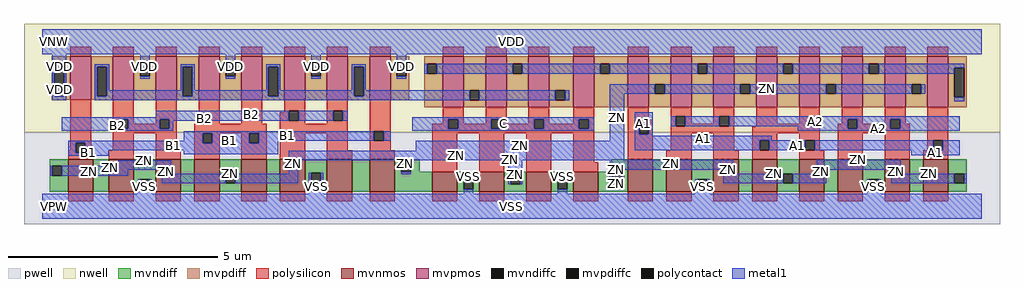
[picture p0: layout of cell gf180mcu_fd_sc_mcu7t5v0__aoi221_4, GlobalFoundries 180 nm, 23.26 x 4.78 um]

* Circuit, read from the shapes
.subckt gf180mcu_fd_sc_mcu7t5v0__aoi221_4 A1 A2 B1 B2 C ZN VDD VNW VPW VSS
XM1 n1 B1 ZN VPW nfet_06v0 w=0.77u l=0.6u
XM2 VSS B2 n1 VPW nfet_06v0 w=0.77u l=0.6u
XM3 n2 B2 VSS VPW nfet_06v0 w=0.77u l=0.6u
XM4 ZN B1 n2 VPW nfet_06v0 w=0.77u l=0.6u
XM5 n3 B1 ZN VPW nfet_06v0 w=0.77u l=0.6u
XM6 VSS B2 n3 VPW nfet_06v0 w=0.77u l=0.6u
XM7 n4 B2 VSS VPW nfet_06v0 w=0.77u l=0.6u
XM8 ZN B1 n4 VPW nfet_06v0 w=0.77u l=0.6u
XM9 VSS C ZN VPW nfet_06v0 w=0.48u l=0.6u m=4
XM10 n5 A1 ZN VPW nfet_06v0 w=0.77u l=0.6u
XM11 VSS A2 n5 VPW nfet_06v0 w=0.77u l=0.6u
XM12 n6 A2 VSS VPW nfet_06v0 w=0.77u l=0.6u
XM13 ZN A1 n6 VPW nfet_06v0 w=0.77u l=0.6u
XM14 n7 A1 ZN VPW nfet_06v0 w=0.77u l=0.6u
XM15 VSS A2 n7 VPW nfet_06v0 w=0.77u l=0.6u
XM16 n8 A2 VSS VPW nfet_06v0 w=0.77u l=0.6u
XM17 ZN A1 n8 VPW nfet_06v0 w=0.77u l=0.6u
XM18 n9 B1 VDD VNW pfet_06v0 w=1.035u l=0.5u m=4
XM19 VDD B2 n9 VNW pfet_06v0 w=1.035u l=0.5u m=4
XM20 n9 C n10 VNW pfet_06v0 w=1.215u l=0.5u m=4
XM21 ZN A1 n10 VNW pfet_06v0 w=1.215u l=0.5u m=4
XM22 n10 A2 ZN VNW pfet_06v0 w=1.215u l=0.5u m=4
.ends

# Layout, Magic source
magic
tech gf180mcuD
magscale 1 10
<< nwell >>
rect -86 352 4566 870
<< pwell >>
rect -86 -86 4566 352
<< mvnmos >>
rect 124 69 244 223
rect 318 69 438 223
rect 542 69 662 223
rect 726 69 846 223
rect 950 69 1070 223
rect 1134 69 1254 223
rect 1358 69 1478 223
rect 1562 69 1682 223
rect 1860 69 1980 165
rect 2084 69 2204 165
rect 2308 69 2428 165
rect 2532 69 2652 165
rect 2792 69 2912 223
rect 2976 69 3096 223
rect 3200 69 3320 223
rect 3384 69 3504 223
rect 3608 69 3728 223
rect 3792 69 3912 223
rect 4016 69 4136 223
rect 4200 69 4320 223
<< mvpmos >>
rect 134 508 234 715
rect 338 508 438 715
rect 542 508 642 715
rect 746 508 846 715
rect 950 508 1050 715
rect 1154 508 1254 715
rect 1358 508 1458 715
rect 1562 508 1662 715
rect 1910 472 2010 715
rect 2114 472 2214 715
rect 2318 472 2418 715
rect 2532 472 2632 715
rect 2792 472 2892 715
rect 2996 472 3096 715
rect 3200 472 3300 715
rect 3404 472 3504 715
rect 3608 472 3708 715
rect 3812 472 3912 715
rect 4016 472 4116 715
rect 4220 472 4320 715
<< mvndiff >>
rect 36 192 124 223
rect 36 146 49 192
rect 95 146 124 192
rect 36 69 124 146
rect 244 69 318 223
rect 438 128 542 223
rect 438 82 467 128
rect 513 82 542 128
rect 438 69 542 82
rect 662 69 726 223
rect 846 155 950 223
rect 846 109 875 155
rect 921 109 950 155
rect 846 69 950 109
rect 1070 69 1134 223
rect 1254 159 1358 223
rect 1254 113 1283 159
rect 1329 113 1358 159
rect 1254 69 1358 113
rect 1478 69 1562 223
rect 1682 210 1800 223
rect 1682 164 1711 210
rect 1757 165 1800 210
rect 2712 165 2792 223
rect 1757 164 1860 165
rect 1682 69 1860 164
rect 1980 128 2084 165
rect 1980 82 2009 128
rect 2055 82 2084 128
rect 1980 69 2084 82
rect 2204 152 2308 165
rect 2204 106 2233 152
rect 2279 106 2308 152
rect 2204 69 2308 106
rect 2428 128 2532 165
rect 2428 82 2457 128
rect 2503 82 2532 128
rect 2428 69 2532 82
rect 2652 152 2792 165
rect 2652 106 2717 152
rect 2763 106 2792 152
rect 2652 69 2792 106
rect 2912 69 2976 223
rect 3096 128 3200 223
rect 3096 82 3125 128
rect 3171 82 3200 128
rect 3096 69 3200 82
rect 3320 69 3384 223
rect 3504 155 3608 223
rect 3504 109 3533 155
rect 3579 109 3608 155
rect 3504 69 3608 109
rect 3728 69 3792 223
rect 3912 128 4016 223
rect 3912 82 3941 128
rect 3987 82 4016 128
rect 3912 69 4016 82
rect 4136 69 4200 223
rect 4320 155 4408 223
rect 4320 109 4349 155
rect 4395 109 4408 155
rect 4320 69 4408 109
<< mvpdiff >>
rect 46 665 134 715
rect 46 525 59 665
rect 105 525 134 665
rect 46 508 134 525
rect 234 665 338 715
rect 234 525 263 665
rect 309 525 338 665
rect 234 508 338 525
rect 438 665 542 715
rect 438 619 467 665
rect 513 619 542 665
rect 438 508 542 619
rect 642 665 746 715
rect 642 525 671 665
rect 717 525 746 665
rect 642 508 746 525
rect 846 665 950 715
rect 846 619 875 665
rect 921 619 950 665
rect 846 508 950 619
rect 1050 665 1154 715
rect 1050 525 1079 665
rect 1125 525 1154 665
rect 1050 508 1154 525
rect 1254 665 1358 715
rect 1254 619 1283 665
rect 1329 619 1358 665
rect 1254 508 1358 619
rect 1458 665 1562 715
rect 1458 525 1487 665
rect 1533 525 1562 665
rect 1458 508 1562 525
rect 1662 665 1750 715
rect 1662 619 1691 665
rect 1737 619 1750 665
rect 1662 508 1750 619
rect 1822 678 1910 715
rect 1822 632 1835 678
rect 1881 632 1910 678
rect 1822 472 1910 632
rect 2010 552 2114 715
rect 2010 506 2039 552
rect 2085 506 2114 552
rect 2010 472 2114 506
rect 2214 678 2318 715
rect 2214 632 2243 678
rect 2289 632 2318 678
rect 2214 472 2318 632
rect 2418 552 2532 715
rect 2418 506 2447 552
rect 2493 506 2532 552
rect 2418 472 2532 506
rect 2632 678 2792 715
rect 2632 632 2661 678
rect 2707 632 2792 678
rect 2632 472 2792 632
rect 2892 582 2996 715
rect 2892 536 2921 582
rect 2967 536 2996 582
rect 2892 472 2996 536
rect 3096 678 3200 715
rect 3096 632 3125 678
rect 3171 632 3200 678
rect 3096 472 3200 632
rect 3300 582 3404 715
rect 3300 536 3329 582
rect 3375 536 3404 582
rect 3300 472 3404 536
rect 3504 678 3608 715
rect 3504 632 3533 678
rect 3579 632 3608 678
rect 3504 472 3608 632
rect 3708 582 3812 715
rect 3708 536 3737 582
rect 3783 536 3812 582
rect 3708 472 3812 536
rect 3912 678 4016 715
rect 3912 632 3941 678
rect 3987 632 4016 678
rect 3912 472 4016 632
rect 4116 582 4220 715
rect 4116 536 4145 582
rect 4191 536 4220 582
rect 4116 472 4220 536
rect 4320 659 4408 715
rect 4320 519 4349 659
rect 4395 519 4408 659
rect 4320 472 4408 519
<< mvndiffc >>
rect 49 146 95 192
rect 467 82 513 128
rect 875 109 921 155
rect 1283 113 1329 159
rect 1711 164 1757 210
rect 2009 82 2055 128
rect 2233 106 2279 152
rect 2457 82 2503 128
rect 2717 106 2763 152
rect 3125 82 3171 128
rect 3533 109 3579 155
rect 3941 82 3987 128
rect 4349 109 4395 155
<< mvpdiffc >>
rect 59 525 105 665
rect 263 525 309 665
rect 467 619 513 665
rect 671 525 717 665
rect 875 619 921 665
rect 1079 525 1125 665
rect 1283 619 1329 665
rect 1487 525 1533 665
rect 1691 619 1737 665
rect 1835 632 1881 678
rect 2039 506 2085 552
rect 2243 632 2289 678
rect 2447 506 2493 552
rect 2661 632 2707 678
rect 2921 536 2967 582
rect 3125 632 3171 678
rect 3329 536 3375 582
rect 3533 632 3579 678
rect 3737 536 3783 582
rect 3941 632 3987 678
rect 4145 536 4191 582
rect 4349 519 4395 659
<< polysilicon >>
rect 134 715 234 760
rect 338 715 438 760
rect 542 715 642 760
rect 746 715 846 760
rect 950 715 1050 760
rect 1154 715 1254 760
rect 1358 715 1458 760
rect 1562 715 1662 760
rect 1910 715 2010 760
rect 2114 715 2214 760
rect 2318 715 2418 760
rect 2532 715 2632 760
rect 2792 715 2892 760
rect 2996 715 3096 760
rect 3200 715 3300 760
rect 3404 715 3504 760
rect 3608 715 3708 760
rect 3812 715 3912 760
rect 4016 715 4116 760
rect 4220 715 4320 760
rect 134 302 234 508
rect 134 267 161 302
rect 124 256 161 267
rect 207 267 234 302
rect 338 415 438 508
rect 338 369 365 415
rect 411 394 438 415
rect 542 415 642 508
rect 542 394 560 415
rect 411 369 560 394
rect 606 369 642 415
rect 746 394 846 508
rect 950 394 1050 508
rect 1154 454 1254 508
rect 1154 448 1177 454
rect 1134 408 1177 448
rect 1223 408 1254 454
rect 1134 394 1254 408
rect 1358 454 1458 508
rect 1358 408 1388 454
rect 1434 408 1458 454
rect 1358 394 1458 408
rect 338 348 642 369
rect 338 267 438 348
rect 207 256 244 267
rect 124 223 244 256
rect 318 223 438 267
rect 542 267 642 348
rect 726 348 1070 394
rect 726 347 846 348
rect 726 301 766 347
rect 812 301 846 347
rect 542 223 662 267
rect 726 223 846 301
rect 950 347 1070 348
rect 950 301 988 347
rect 1034 301 1070 347
rect 950 223 1070 301
rect 1134 348 1458 394
rect 1134 223 1254 348
rect 1358 267 1458 348
rect 1562 358 1662 508
rect 1910 415 2010 472
rect 1910 394 1937 415
rect 1562 312 1582 358
rect 1628 312 1662 358
rect 1562 267 1662 312
rect 1860 369 1937 394
rect 1983 394 2010 415
rect 2114 415 2214 472
rect 2114 394 2141 415
rect 1983 369 2141 394
rect 2187 394 2214 415
rect 2318 415 2418 472
rect 2318 394 2345 415
rect 2187 369 2345 394
rect 2391 394 2418 415
rect 2532 415 2632 472
rect 2532 394 2559 415
rect 2391 369 2559 394
rect 2605 369 2632 415
rect 1860 348 2632 369
rect 1358 223 1478 267
rect 1562 223 1682 267
rect 1860 165 1980 348
rect 2084 165 2204 348
rect 2308 165 2428 348
rect 2532 209 2632 348
rect 2792 412 2892 472
rect 2996 428 3096 472
rect 2792 388 2912 412
rect 2792 342 2846 388
rect 2892 342 2912 388
rect 2792 223 2912 342
rect 2996 382 3020 428
rect 3066 394 3096 428
rect 3200 428 3300 472
rect 3200 394 3229 428
rect 3066 382 3229 394
rect 3275 382 3300 428
rect 2996 348 3300 382
rect 3404 394 3504 472
rect 3608 394 3708 472
rect 3812 415 3912 472
rect 3812 394 3840 415
rect 3404 378 3708 394
rect 2996 267 3096 348
rect 2976 223 3096 267
rect 3200 267 3300 348
rect 3384 348 3708 378
rect 3384 314 3504 348
rect 3384 268 3421 314
rect 3467 268 3504 314
rect 3200 223 3320 267
rect 3384 223 3504 268
rect 3608 314 3708 348
rect 3608 268 3637 314
rect 3683 268 3708 314
rect 3608 267 3708 268
rect 3792 369 3840 394
rect 3886 394 3912 415
rect 4016 415 4116 472
rect 4016 394 4044 415
rect 3886 369 4044 394
rect 4090 394 4116 415
rect 4090 369 4136 394
rect 3792 348 4136 369
rect 3608 223 3728 267
rect 3792 223 3912 348
rect 4016 223 4136 348
rect 4220 314 4320 472
rect 4220 268 4248 314
rect 4294 268 4320 314
rect 4220 267 4320 268
rect 4200 223 4320 267
rect 2532 165 2652 209
rect 124 24 244 69
rect 318 24 438 69
rect 542 24 662 69
rect 726 24 846 69
rect 950 24 1070 69
rect 1134 24 1254 69
rect 1358 24 1478 69
rect 1562 24 1682 69
rect 1860 24 1980 69
rect 2084 24 2204 69
rect 2308 24 2428 69
rect 2532 24 2652 69
rect 2792 24 2912 69
rect 2976 24 3096 69
rect 3200 24 3320 69
rect 3384 24 3504 69
rect 3608 24 3728 69
rect 3792 24 3912 69
rect 4016 24 4136 69
rect 4200 24 4320 69
<< polycontact >>
rect 161 256 207 302
rect 365 369 411 415
rect 560 369 606 415
rect 1177 408 1223 454
rect 1388 408 1434 454
rect 766 301 812 347
rect 988 301 1034 347
rect 1582 312 1628 358
rect 1937 369 1983 415
rect 2141 369 2187 415
rect 2345 369 2391 415
rect 2559 369 2605 415
rect 2846 342 2892 388
rect 3020 382 3066 428
rect 3229 382 3275 428
rect 3421 268 3467 314
rect 3637 268 3683 314
rect 3840 369 3886 415
rect 4044 369 4090 415
rect 4248 268 4294 314
<< metal1 >>
rect 0 724 4480 844
rect 48 665 116 724
rect 48 525 59 665
rect 105 525 116 665
rect 48 506 116 525
rect 252 665 320 676
rect 252 525 263 665
rect 309 552 320 665
rect 467 665 513 724
rect 467 608 513 619
rect 660 665 728 676
rect 660 552 671 665
rect 309 525 671 552
rect 717 552 728 665
rect 875 665 921 724
rect 875 608 921 619
rect 1068 665 1136 676
rect 1068 552 1079 665
rect 717 525 1079 552
rect 1125 552 1136 665
rect 1283 665 1329 724
rect 1283 608 1329 619
rect 1476 665 1544 676
rect 1476 552 1487 665
rect 1125 525 1487 552
rect 1533 552 1544 665
rect 1691 665 1737 724
rect 1822 632 1835 678
rect 1881 632 2243 678
rect 2289 632 2661 678
rect 2707 632 3125 678
rect 3171 632 3533 678
rect 3579 632 3941 678
rect 3987 659 4395 678
rect 3987 632 4349 659
rect 1691 608 1737 619
rect 1533 525 2039 552
rect 252 506 2039 525
rect 2085 506 2447 552
rect 2493 506 2512 552
rect 2706 536 2921 582
rect 2967 536 3329 582
rect 3375 536 3737 582
rect 3783 536 4145 582
rect 4191 536 4210 582
rect 542 424 1177 454
rect 93 415 1177 424
rect 93 369 365 415
rect 411 369 560 415
rect 606 408 1177 415
rect 1223 408 1388 454
rect 1434 408 1458 454
rect 1764 415 2632 424
rect 606 369 625 408
rect 93 360 625 369
rect 1764 369 1937 415
rect 1983 369 2141 415
rect 2187 369 2345 415
rect 2391 369 2559 415
rect 2605 369 2632 415
rect 1764 360 2632 369
rect 676 347 1582 358
rect 676 312 766 347
rect 124 302 766 312
rect 124 256 161 302
rect 207 301 766 302
rect 812 301 988 347
rect 1034 312 1582 347
rect 1628 312 1662 358
rect 2706 312 2776 536
rect 4349 500 4395 519
rect 1034 311 1662 312
rect 1034 301 1126 311
rect 207 266 1126 301
rect 207 256 318 266
rect 124 240 318 256
rect 676 248 1126 266
rect 1781 265 2776 312
rect 2824 388 2910 449
rect 2824 342 2846 388
rect 2892 342 2910 388
rect 2996 382 3020 428
rect 3066 382 3229 428
rect 3275 415 4373 428
rect 3275 382 3840 415
rect 3602 369 3840 382
rect 3886 369 4044 415
rect 4090 369 4373 415
rect 3602 360 4373 369
rect 2824 335 2910 342
rect 2824 314 3478 335
rect 2824 268 3421 314
rect 3467 268 3637 314
rect 3683 268 4248 314
rect 4294 268 4373 314
rect 2824 267 4373 268
rect 1176 221 2776 265
rect 4144 244 4373 267
rect 364 192 616 220
rect 38 146 49 192
rect 95 174 616 192
rect 95 146 410 174
rect 570 156 616 174
rect 1176 219 3294 221
rect 1176 156 1222 219
rect 1711 210 1757 219
rect 570 155 1222 156
rect 456 82 467 128
rect 513 82 524 128
rect 570 109 875 155
rect 921 109 1222 155
rect 1272 113 1283 159
rect 1329 113 1340 159
rect 1711 153 1757 164
rect 456 60 524 82
rect 1272 60 1340 113
rect 2009 128 2055 159
rect 2222 152 2290 219
rect 2706 175 3294 219
rect 2222 106 2233 152
rect 2279 106 2290 152
rect 2457 128 2503 159
rect 2009 60 2055 82
rect 2706 152 2774 175
rect 2706 106 2717 152
rect 2763 106 2774 152
rect 3248 156 3294 175
rect 3692 174 4094 221
rect 3692 156 3738 174
rect 3248 155 3738 156
rect 2457 60 2503 82
rect 3114 82 3125 128
rect 3171 82 3182 128
rect 3248 109 3533 155
rect 3579 109 3738 155
rect 4048 155 4094 174
rect 3114 60 3182 82
rect 3930 82 3941 128
rect 3987 82 3998 128
rect 4048 109 4349 155
rect 4395 109 4408 155
rect 3930 60 3998 82
rect 0 -60 4480 60
<< labels >>
flabel metal1 s 2996 382 4373 428 0 FreeSans 600 0 0 0 A2
port 2 nsew default input
flabel metal1 s 676 312 1662 358 0 FreeSans 600 0 0 0 B1
port 3 nsew default input
flabel metal1 s 542 424 1458 454 0 FreeSans 600 0 0 0 B2
port 4 nsew default input
flabel metal1 s 1764 360 2632 424 0 FreeSans 600 0 0 0 C
port 5 nsew default input
flabel metal1 s 0 724 4480 844 0 FreeSans 600 0 0 0 VDD
port 7 nsew power bidirectional abutment
flabel metal1 s 2457 128 2503 159 0 FreeSans 600 0 0 0 VSS
port 10 nsew ground bidirectional abutment
flabel metal1 s 2706 536 4210 582 0 FreeSans 600 0 0 0 ZN
port 6 nsew default output
flabel metal1 s 2824 335 2910 449 0 FreeSans 600 0 0 0 A1
port 1 nsew default input
flabel nwell s 10 734 110 834 0 FreeSans 400 0 0 0 VNW
port 8 nsew power bidirectional
flabel pwell s 10 -50 110 50 0 FreeSans 400 0 0 0 VPW
port 9 nsew ground bidirectional
rlabel metal1 s 2824 314 3478 335 1 A1
port 1 nsew default input
rlabel metal1 s 2824 267 4373 314 1 A1
port 1 nsew default input
rlabel metal1 s 4144 244 4373 267 1 A1
port 1 nsew default input
rlabel metal1 s 3602 360 4373 382 1 A2
port 2 nsew default input
rlabel metal1 s 124 311 1662 312 1 B1
port 3 nsew default input
rlabel metal1 s 124 266 1126 311 1 B1
port 3 nsew default input
rlabel metal1 s 676 248 1126 266 1 B1
port 3 nsew default input
rlabel metal1 s 124 248 318 266 1 B1
port 3 nsew default input
rlabel metal1 s 124 240 318 248 1 B1
port 3 nsew default input
rlabel metal1 s 93 408 1458 424 1 B2
port 4 nsew default input
rlabel metal1 s 93 360 625 408 1 B2
port 4 nsew default input
rlabel metal1 s 2706 312 2776 536 1 ZN
port 6 nsew default output
rlabel metal1 s 1781 265 2776 312 1 ZN
port 6 nsew default output
rlabel metal1 s 1176 221 2776 265 1 ZN
port 6 nsew default output
rlabel metal1 s 3692 220 4094 221 1 ZN
port 6 nsew default output
rlabel metal1 s 1176 220 3294 221 1 ZN
port 6 nsew default output
rlabel metal1 s 3692 219 4094 220 1 ZN
port 6 nsew default output
rlabel metal1 s 1176 219 3294 220 1 ZN
port 6 nsew default output
rlabel metal1 s 364 219 616 220 1 ZN
port 6 nsew default output
rlabel metal1 s 3692 192 4094 219 1 ZN
port 6 nsew default output
rlabel metal1 s 2706 192 3294 219 1 ZN
port 6 nsew default output
rlabel metal1 s 2222 192 2290 219 1 ZN
port 6 nsew default output
rlabel metal1 s 1711 192 1757 219 1 ZN
port 6 nsew default output
rlabel metal1 s 1176 192 1222 219 1 ZN
port 6 nsew default output
rlabel metal1 s 364 192 616 219 1 ZN
port 6 nsew default output
rlabel metal1 s 3692 175 4094 192 1 ZN
port 6 nsew default output
rlabel metal1 s 2706 175 3294 192 1 ZN
port 6 nsew default output
rlabel metal1 s 2222 175 2290 192 1 ZN
port 6 nsew default output
rlabel metal1 s 1711 175 1757 192 1 ZN
port 6 nsew default output
rlabel metal1 s 1176 175 1222 192 1 ZN
port 6 nsew default output
rlabel metal1 s 38 175 616 192 1 ZN
port 6 nsew default output
rlabel metal1 s 3692 174 4094 175 1 ZN
port 6 nsew default output
rlabel metal1 s 3248 174 3294 175 1 ZN
port 6 nsew default output
rlabel metal1 s 2706 174 2774 175 1 ZN
port 6 nsew default output
rlabel metal1 s 2222 174 2290 175 1 ZN
port 6 nsew default output
rlabel metal1 s 1711 174 1757 175 1 ZN
port 6 nsew default output
rlabel metal1 s 1176 174 1222 175 1 ZN
port 6 nsew default output
rlabel metal1 s 38 174 616 175 1 ZN
port 6 nsew default output
rlabel metal1 s 4048 156 4094 174 1 ZN
port 6 nsew default output
rlabel metal1 s 3692 156 3738 174 1 ZN
port 6 nsew default output
rlabel metal1 s 3248 156 3294 174 1 ZN
port 6 nsew default output
rlabel metal1 s 2706 156 2774 174 1 ZN
port 6 nsew default output
rlabel metal1 s 2222 156 2290 174 1 ZN
port 6 nsew default output
rlabel metal1 s 1711 156 1757 174 1 ZN
port 6 nsew default output
rlabel metal1 s 1176 156 1222 174 1 ZN
port 6 nsew default output
rlabel metal1 s 570 156 616 174 1 ZN
port 6 nsew default output
rlabel metal1 s 38 156 410 174 1 ZN
port 6 nsew default output
rlabel metal1 s 4048 155 4094 156 1 ZN
port 6 nsew default output
rlabel metal1 s 3248 155 3738 156 1 ZN
port 6 nsew default output
rlabel metal1 s 2706 155 2774 156 1 ZN
port 6 nsew default output
rlabel metal1 s 2222 155 2290 156 1 ZN
port 6 nsew default output
rlabel metal1 s 1711 155 1757 156 1 ZN
port 6 nsew default output
rlabel metal1 s 570 155 1222 156 1 ZN
port 6 nsew default output
rlabel metal1 s 38 155 410 156 1 ZN
port 6 nsew default output
rlabel metal1 s 4048 153 4408 155 1 ZN
port 6 nsew default output
rlabel metal1 s 3248 153 3738 155 1 ZN
port 6 nsew default output
rlabel metal1 s 2706 153 2774 155 1 ZN
port 6 nsew default output
rlabel metal1 s 2222 153 2290 155 1 ZN
port 6 nsew default output
rlabel metal1 s 1711 153 1757 155 1 ZN
port 6 nsew default output
rlabel metal1 s 570 153 1222 155 1 ZN
port 6 nsew default output
rlabel metal1 s 38 153 410 155 1 ZN
port 6 nsew default output
rlabel metal1 s 4048 146 4408 153 1 ZN
port 6 nsew default output
rlabel metal1 s 3248 146 3738 153 1 ZN
port 6 nsew default output
rlabel metal1 s 2706 146 2774 153 1 ZN
port 6 nsew default output
rlabel metal1 s 2222 146 2290 153 1 ZN
port 6 nsew default output
rlabel metal1 s 570 146 1222 153 1 ZN
port 6 nsew default output
rlabel metal1 s 38 146 410 153 1 ZN
port 6 nsew default output
rlabel metal1 s 4048 109 4408 146 1 ZN
port 6 nsew default output
rlabel metal1 s 3248 109 3738 146 1 ZN
port 6 nsew default output
rlabel metal1 s 2706 109 2774 146 1 ZN
port 6 nsew default output
rlabel metal1 s 2222 109 2290 146 1 ZN
port 6 nsew default output
rlabel metal1 s 570 109 1222 146 1 ZN
port 6 nsew default output
rlabel metal1 s 2706 106 2774 109 1 ZN
port 6 nsew default output
rlabel metal1 s 2222 106 2290 109 1 ZN
port 6 nsew default output
rlabel metal1 s 1691 608 1737 724 1 VDD
port 7 nsew power bidirectional abutment
rlabel metal1 s 1283 608 1329 724 1 VDD
port 7 nsew power bidirectional abutment
rlabel metal1 s 875 608 921 724 1 VDD
port 7 nsew power bidirectional abutment
rlabel metal1 s 467 608 513 724 1 VDD
port 7 nsew power bidirectional abutment
rlabel metal1 s 48 608 116 724 1 VDD
port 7 nsew power bidirectional abutment
rlabel metal1 s 48 506 116 608 1 VDD
port 7 nsew power bidirectional abutment
rlabel metal1 s 2009 128 2055 159 1 VSS
port 10 nsew ground bidirectional abutment
rlabel metal1 s 1272 128 1340 159 1 VSS
port 10 nsew ground bidirectional abutment
rlabel metal1 s 3930 60 3998 128 1 VSS
port 10 nsew ground bidirectional abutment
rlabel metal1 s 3114 60 3182 128 1 VSS
port 10 nsew ground bidirectional abutment
rlabel metal1 s 2457 60 2503 128 1 VSS
port 10 nsew ground bidirectional abutment
rlabel metal1 s 2009 60 2055 128 1 VSS
port 10 nsew ground bidirectional abutment
rlabel metal1 s 1272 60 1340 128 1 VSS
port 10 nsew ground bidirectional abutment
rlabel metal1 s 456 60 524 128 1 VSS
port 10 nsew ground bidirectional abutment
rlabel metal1 s 0 -60 4480 60 1 VSS
port 10 nsew ground bidirectional abutment
<< properties >>
string FIXED_BBOX 0 0 4480 784
string GDS_END 1310374
string GDS_FILE $PDKPATH/libs.ref/gf180mcu_fd_sc_mcu7t5v0/gds/gf180mcu_fd_sc_mcu7t5v0.gds
string GDS_START 1301626
string LEFclass core
string LEFsite GF018hv5v_mcu_sc7
string LEFsymmetry X Y
<< end >>
